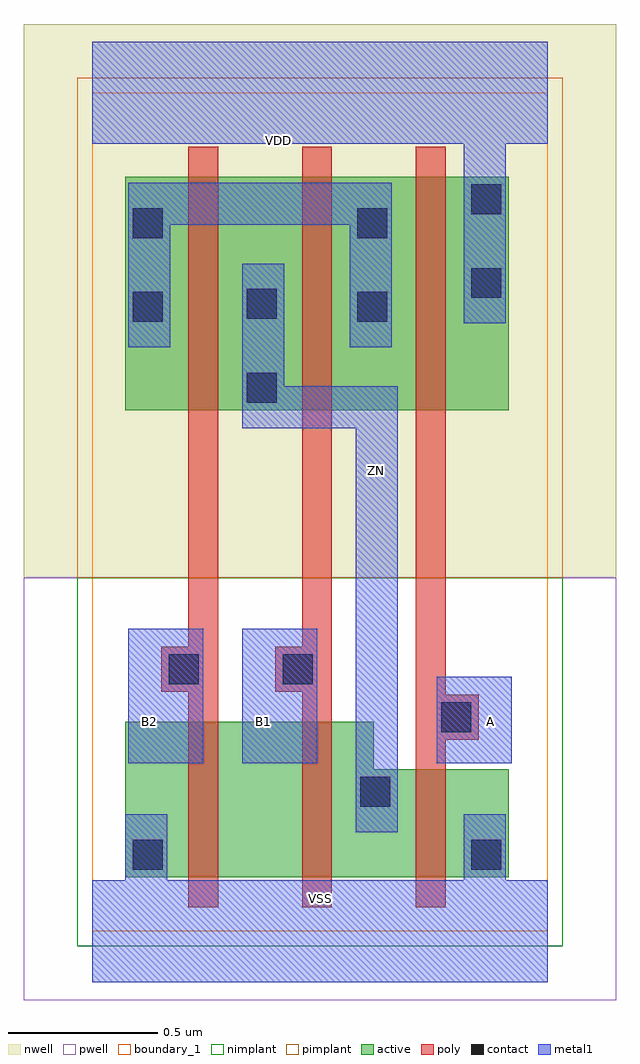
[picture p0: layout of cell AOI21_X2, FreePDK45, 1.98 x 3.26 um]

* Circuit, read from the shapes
.subckt AOI21_X2 A B1 B2 VDD VSS ZN
M1 n1 B2 VSS VSUBS nfet w=0.52u l=0.1u
M2 ZN B1 n1 VSUBS nfet w=0.52u l=0.1u
M3 VSS A ZN VSUBS nfet w=0.36u l=0.1u
M4 ZN B2 n2 n3 pfet w=0.78u l=0.1u
M5 n2 B1 ZN n3 pfet w=0.78u l=0.1u
M6 VDD A n2 n3 pfet w=0.78u l=0.1u
.ends

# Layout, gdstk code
import gdstk
lib = gdstk.Library(unit=1e-6, precision=1e-09)
def R(c, l, rs):  # rectangles x0, y0, x1, y1
    for r in rs: c.add(gdstk.rectangle(r[:2], r[2:], *l))
def P(c, l, *ps):  # polygons
    for p in ps: c.add(gdstk.Polygon(p, *l))
active = (1, 0)
pwell = (2, 0)
nwell = (3, 0)
nimplant = (4, 0)
pimplant = (5, 0)
poly = (9, 0)
contact = (10, 0)
metal1 = (11, 0)
boundary_1 = (235, 1)

aoi21_x2 = lib.new_cell('AOI21_X2')
R(aoi21_x2, active, [(0.11,1.74,1.39,2.52)])
P(aoi21_x2, active, [(0.11,0.18),(1.39,0.18),(1.39,0.54),(0.94,0.54),(0.94,0.7),(0.11,0.7)])
R(aoi21_x2, pwell, [(-0.23,-0.23,1.75,1.18)])
R(aoi21_x2, nwell, [(-0.23,1.18,1.75,3.03)])
R(aoi21_x2, nimplant, [(-0.05,-0.05,1.57,1.18)])
R(aoi21_x2, pimplant, [(-0.05,1.18,1.57,2.85)])
P(aoi21_x2, poly, [(1.08,0.08),(1.18,0.08),(1.18,0.64),(1.29,0.64),(1.29,0.79),(1.18,0.79),(1.18,2.62),(1.08,2.62)],
  [(0.61,0.8),(0.7,0.8),(0.7,0.08),(0.8,0.08),(0.8,2.62),(0.7,2.62),(0.7,0.95),(0.61,0.95)],
  [(0.23,0.8),(0.32,0.8),(0.32,0.08),(0.42,0.08),(0.42,2.62),(0.32,2.62),(0.32,0.95),(0.23,0.95)])
R(aoi21_x2, contact, [(0.135,0.205,0.235,0.305), (1.265,0.205,1.365,0.305), (0.895,0.415,0.995,0.515), (1.165,0.665,1.265,0.765), (0.255,0.825,0.355,0.925), (0.635,0.825,0.735,0.925), (0.515,1.765,0.615,1.865), (0.135,2.035,0.235,2.135), (0.885,2.035,0.985,2.135), (0.515,2.045,0.615,2.145), (1.265,2.115,1.365,2.215), (0.135,2.315,0.235,2.415), (0.885,2.315,0.985,2.415), (1.265,2.395,1.365,2.495)])
R(aoi21_x2, metal1, [(0.12,0.56,0.37,1.01), (0.12,0.56,0.37,1.01), (0.5,0.56,0.75,1.01), (0.5,0.56,0.75,1.01), (1.15,0.56,1.4,0.85), (1.15,0.56,1.4,0.85)])
P(aoi21_x2, metal1, [(0.5,1.68),(0.88,1.68),(0.88,0.33),(1.02,0.33),(1.02,1.82),(0.64,1.82),(0.64,2.23),(0.5,2.23)],
  [(0,-0.17),(1.52,-0.17),(1.52,0.17),(1.38,0.17),(1.38,0.39),(1.24,0.39),(1.24,0.17),(0.25,0.17),(0.25,0.39),(0.11,0.39),(0.11,0.17),(0,0.17)],
  [(0,2.63),(1.24,2.63),(1.24,2.03),(1.38,2.03),(1.38,2.63),(1.52,2.63),(1.52,2.97),(0,2.97)],
  [(0,2.63),(1.24,2.63),(1.24,2.03),(1.38,2.03),(1.38,2.63),(1.52,2.63),(1.52,2.97),(0,2.97)],
  [(0,-0.17),(1.52,-0.17),(1.52,0.17),(1.38,0.17),(1.38,0.39),(1.24,0.39),(1.24,0.17),(0.25,0.17),(0.25,0.39),(0.11,0.39),(0.11,0.17),(0,0.17)],
  [(0.5,1.68),(0.88,1.68),(0.88,0.33),(1.02,0.33),(1.02,1.82),(0.64,1.82),(0.64,2.23),(0.5,2.23)],
  [(0.12,1.95),(0.26,1.95),(0.26,2.36),(0.86,2.36),(0.86,1.95),(1,1.95),(1,2.5),(0.12,2.5)])
R(aoi21_x2, boundary_1, [(0,0,1.52,2.8)])
aoi21_x2.add(gdstk.Label('ZN', (0.95,1.54), layer=11, texttype=0))
aoi21_x2.add(gdstk.Label('VSS', (0.76,0.11), layer=11, texttype=0))
aoi21_x2.add(gdstk.Label('VDD', (0.62,2.64), layer=11, texttype=0))
aoi21_x2.add(gdstk.Label('B2', (0.19,0.7), layer=11, texttype=0))
aoi21_x2.add(gdstk.Label('B1', (0.57,0.7), layer=11, texttype=0))
aoi21_x2.add(gdstk.Label('A', (1.33,0.7), layer=11, texttype=0))

lib.write_gds('AOI21_X2.gds')
